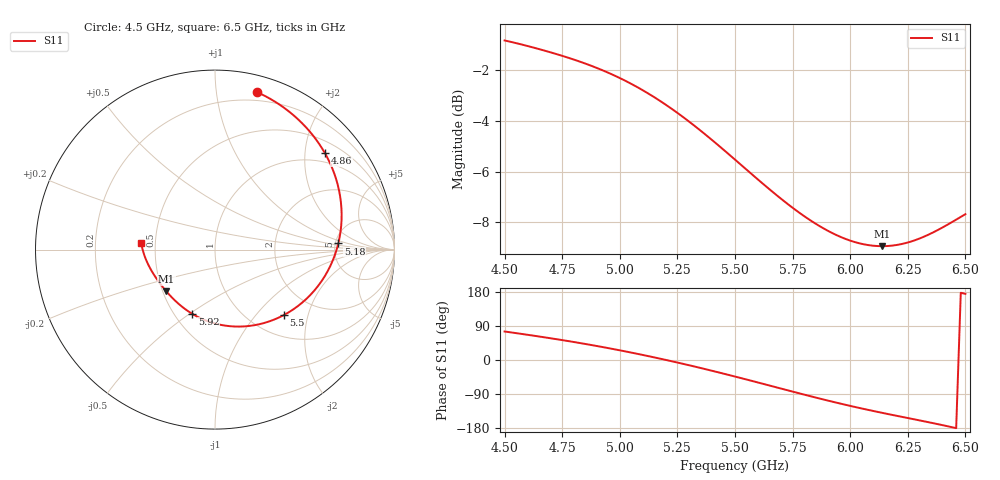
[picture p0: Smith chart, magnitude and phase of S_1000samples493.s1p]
! TOUCHSTONE file generated by CST MICROWAVE STUDIO
! Date and time: Fri Oct 28 08:40:45 2022
! Project name: L.cst
! Parameters = {Di=1.27; Epsilon_r=1.56; InnerDiameter=1.27; Length=2; Lf=10; Lg=60; OuterConductorThickness=0.2921; OuterDiameter=3.6; Wf=3; Wp=41.2; de=1.5; df=6.8; g=0.8; gx=1.18874; gy=2.22572; h=2.34; hf=1.524; px=9.65255; py=11.5178; w=9.7; wx=8.46381; wy=9.2921}
! Header version: 2018
! Port assignment regex: !\s*Touchstone port\s*([0-9]+)\s*=\s*(CST MWS port|CST DS port)\s*([0-9]+|Zmin|Zmax)\s*\(\"(.*)\"\)(\s*mode\s*([0-9]+))?.*
! Touchstone port assignment:
! Touchstone port 1 = CST MWS port 1 ("")
# GHz S DB R 50
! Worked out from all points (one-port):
!   101 points, 4.5 GHz to 6.5 GHz, reference 50 ohm
!   lowest |S11| = -8.9 dB at 6.14 GHz (marker M1), VSWR 2.11, Z = 26.1 - j13.9 ohm
!   |S11| at or under -10 dB: nowhere
!   S11 on the Smith chart (normalised r, x): 4.5 GHz: 0.13, +1.29; 4.86 GHz: 0.77, +2.45; 5.18 GHz: 5.31, +0.69; 5.5 GHz: 1.40, -1.42; 5.92 GHz: 0.61, -0.51; 6.5 GHz: 0.42, +0.04
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4.5  -0.84 75.2
4.56  -0.96 70.0
4.64  -1.15 62.9
4.7  -1.31 57.3
4.76  -1.47 51.5
4.86  -1.78 41.3
4.94  -2.07 32.5
5  -2.32 25.5
5.06  -2.60 18.3
5.1  -2.80 13.3
5.18  -3.25 2.8
5.26  -3.76 -8.1
5.32  -4.17 -16.6
5.38  -4.61 -25.4
5.44  -5.06 -34.4
5.5  -5.53 -43.7
5.56  -6.00 -53.1
5.62  -6.47 -62.6
5.68  -6.93 -72.2
5.76  -7.50 -85.0
5.84  -8.00 -97.5
5.92  -8.42 -109.6
6  -8.72 -121.1
6.14  -8.94 -139.6
6.26  -8.77 -154.4
6.38  -8.31 -169.2
6.44  -8.00 -177.1
6.5  -7.68 174.5
